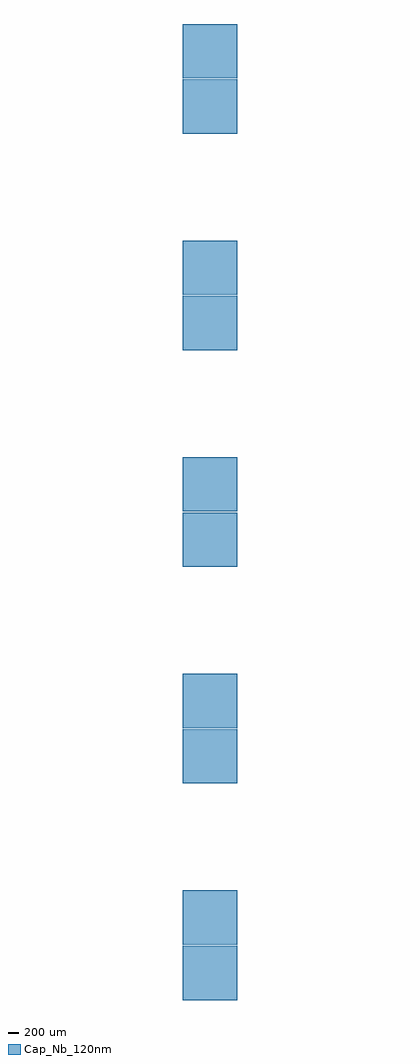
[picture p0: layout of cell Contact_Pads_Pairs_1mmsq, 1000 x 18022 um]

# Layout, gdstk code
import gdstk
lib = gdstk.Library(unit=1e-6, precision=1e-09)
def R(c, l, rs):  # rectangles x0, y0, x1, y1
    for r in rs: c.add(gdstk.rectangle(r[:2], r[2:], *l))
Cap_Nb_120nm = (6, 0)

contact_pads_pairs_1mmsq = lib.new_cell('Contact_Pads_Pairs_1mmsq')
R(contact_pads_pairs_1mmsq, Cap_Nb_120nm, [(-500,-9011,500,-8011), (-500,-7989,500,-6989), (-500,-5011,500,-4011), (-500,-3989,500,-2989), (-500,-1011,500,-11), (-500,11,500,1011), (-500,2989,500,3989), (-500,4011,500,5011), (-500,6989,500,7989), (-500,8011,500,9011)])

lib.write_gds('Contact_Pads_Pairs_1mmsq.gds')
